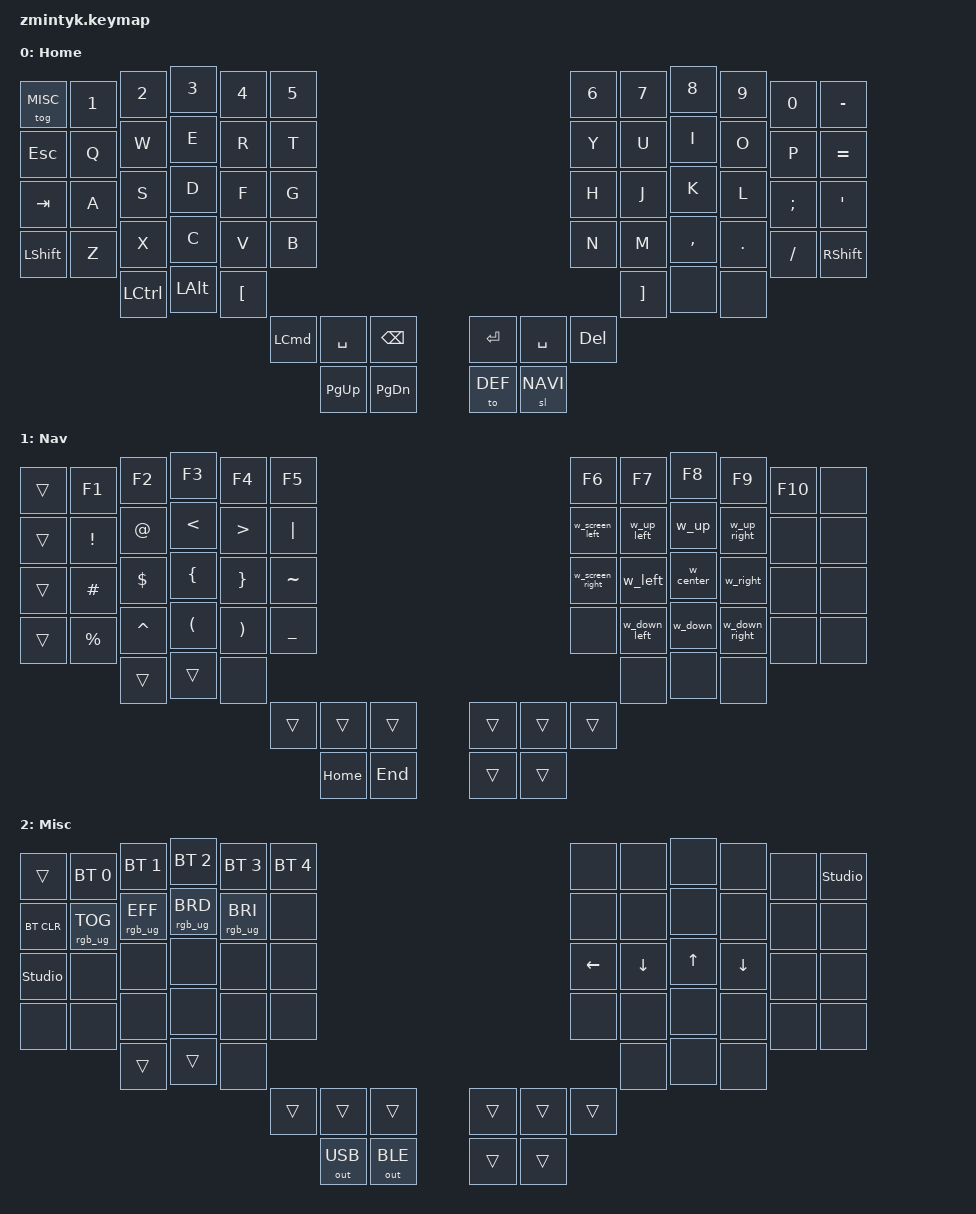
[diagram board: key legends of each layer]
#include <behaviors.dtsi>
#include <dt-bindings/zmk/keys.h>
#include <dt-bindings/zmk/bt.h>
#include <dt-bindings/zmk/outputs.h>
#include <dt-bindings/zmk/rgb.h>

#define DEF 0
#define NAVI 1
#define MISC 2

&led_strip {
  chain-length = <1>;
};

/ {
  keymap {
    compatible = "zmk,keymap";

    default_layer {
      display-name = "Home";
      bindings = <
        &tog MISC  &kp N1    &kp N2    &kp N3    &kp N4    &kp N5        &kp N6    &kp N7     &kp N8    &kp N9    &kp N0    &kp MINUS
        &kp ESC   &kp Q     &kp W     &kp E     &kp R     &kp T         &kp Y     &kp U      &kp I     &kp O     &kp P     &kp EQUAL
        &kp TAB   &kp A     &kp S     &kp D     &kp F     &kp G         &kp H     &kp J      &kp K     &kp L     &kp SEMI  &kp SQT
        &kp LSHFT &kp Z     &kp X     &kp C     &kp V     &kp B         &kp N     &kp M      &kp COMMA &kp DOT   &kp FSLH  &kp RSHFT
                            &kp LCTRL &kp LALT  &kp LBKT                          &kp RBKT   &none     &none 
                                      &kp LCMD  &kp SPACE &kp BSPC      &kp ENTER &kp SPACE  &kp DEL
                                                &kp PG_UP &kp PG_DN     &to DEF   &sl NAVI
      >;
    };
    nav_layer {
      display-name = "Nav";
      bindings = <
        &trans    &kp F1    &kp F2    &kp F3    &kp F4    &kp F5    &kp F6          &kp F7       &kp F8    &kp F9        &kp F10 &none
        &trans    &kp EXCL  &kp AT    &kp LT    &kp GT    &kp PIPE  &w_screen_left  &w_up_left   &w_up     &w_up_right   &none   &none 
        &trans    &kp HASH  &kp DLLR  &kp LBRC  &kp RBRC  &kp TILDE &w_screen_right &w_left      &w_center &w_right      &none   &none 
        &trans    &kp PRCNT &kp CARET &kp LPAR  &kp RPAR  &kp UNDER &none           &w_down_left &w_down   &w_down_right &none   &none 
                            &trans    &trans    &none                               &none        &none     &none
                                      &trans    &trans    &trans        &trans      &trans       &trans
                                                &kp HOME  &kp END       &trans      &trans
      >;
    };
    misc_layer {
      display-name = "Misc";
      bindings = <
        &trans         &bt BT_SEL 0    &bt BT_SEL 1 &bt BT_SEL 2 &bt BT_SEL 3  &bt BT_SEL 4  &none    &none    &none    &none    &none    &studio_unlock
        &bt BT_CLR     &rgb_ug RGB_TOG &rgb_ug RGB_EFF        &rgb_ug RGB_BRD        &rgb_ug RGB_BRI         &none         &none    &none    &none    &none    &none    &none
        &studio_unlock &none        &none        &none        &none         &none         &kp LEFT &kp DOWN &kp UP   &kp DOWN &none    &none
        &none          &none        &none        &none        &none         &none         &none    &none    &none    &none    &none    &none
                                    &trans       &trans       &none                                &none    &none    &none
                                    &trans       &trans       &trans                               &trans   &trans   &trans
                                                 &out OUT_USB &out OUT_BLE                         &trans   &trans
      >;
    };
  };
        
  macros {
    find: find {
      compatible = "zmk,behavior-macro";
      #binding-cells = <0>;
      bindings
        = <&macro_press &kp LGUI>
        , <&macro_tap &kp F>
        , <&macro_release &kp LGUI>
        ;
      };
    copy: copy {
      compatible = "zmk,behavior-macro";
      #binding-cells = <0>;
      bindings
        = <&macro_press &kp LGUI>
        , <&macro_tap &kp C>
        , <&macro_release &kp LGUI>
        ;
      };
    paste: paste {
      compatible = "zmk,behavior-macro";
      #binding-cells = <0>;
      bindings
        = <&macro_press &kp LGUI>
        , <&macro_tap &kp V>
        , <&macro_release &kp LGUI>
        ;
      };
    cut: cut {
      compatible = "zmk,behavior-macro";
      #binding-cells = <0>;
      bindings
        = <&macro_press &kp LGUI>
        , <&macro_tap &kp X>
        , <&macro_release &kp LGUI>
        ;
      };
    w_left: w_left {
      compatible = "zmk,behavior-macro";
      #binding-cells = <0>;
      bindings
        = <&macro_press &kp LCTRL &kp LALT>
        , <&macro_tap &kp LEFT>
        , <&macro_release &kp LCTRL &kp LALT>
        ;
      };
    w_right: w_right {
      compatible = "zmk,behavior-macro";
      #binding-cells = <0>;
      bindings
        = <&macro_press &kp LCTRL &kp LALT>
        , <&macro_tap &kp RIGHT>
        , <&macro_release &kp LCTRL &kp LALT>
        ;
      };
    w_up: w_up {
      compatible = "zmk,behavior-macro";
      #binding-cells = <0>;
      bindings
        = <&macro_press &kp LCTRL &kp LALT>
        , <&macro_tap &kp UP>
        , <&macro_release &kp LCTRL &kp LALT>
        ;
      };
    w_down: w_down {
      compatible = "zmk,behavior-macro";
      #binding-cells = <0>;
      bindings
        = <&macro_press &kp LCTRL &kp LALT>
        , <&macro_tap &kp DOWN>
        , <&macro_release &kp LCTRL &kp LALT>
        ;
      };
    w_center: w_center {
      compatible = "zmk,behavior-macro";
      #binding-cells = <0>;
      bindings
        = <&macro_press &kp LCTRL &kp LALT>
        , <&macro_tap &kp RET>
        , <&macro_release &kp LCTRL &kp LALT>
        ;
      };
    w_up_left: w_up_left {
      compatible = "zmk,behavior-macro";
      #binding-cells = <0>;
      bindings
        = <&macro_press &kp LCTRL &kp LALT>
        , <&macro_tap &kp U>
        , <&macro_release &kp LCTRL &kp LALT>
        ;
      };
    w_up_right: w_up_right {
      compatible = "zmk,behavior-macro";
      #binding-cells = <0>;
      bindings
        = <&macro_press &kp LCTRL &kp LALT>
        , <&macro_tap &kp I>
        , <&macro_release &kp LCTRL &kp LALT>
        ;
      };
    w_down_left: w_down_left {
      compatible = "zmk,behavior-macro";
      #binding-cells = <0>;
      bindings
        = <&macro_press &kp LCTRL &kp LALT>
        , <&macro_tap &kp J>
        , <&macro_release &kp LCTRL &kp LALT>
        ;
      };
    w_down_right: w_down_right {
      compatible = "zmk,behavior-macro";
      #binding-cells = <0>;
      bindings
        = <&macro_press &kp LCTRL &kp LALT>
        , <&macro_tap &kp K>
        , <&macro_release &kp LCTRL &kp LALT>
        ;
      };
    w_screen_right: w_screen_right {
      compatible = "zmk,behavior-macro";
      #binding-cells = <0>;
      bindings
        = <&macro_press &kp LCTRL &kp LALT &kp LGUI>
        , <&macro_tap &kp RIGHT>
        , <&macro_release &kp LCTRL &kp LALT &kp LGUI>
        ;
      };
    w_screen_left: w_screen_left {
      compatible = "zmk,behavior-macro";
      #binding-cells = <0>;
      bindings
        = <&macro_press &kp LCTRL &kp LALT &kp LGUI>
        , <&macro_tap &kp LEFT>
        , <&macro_release &kp LCTRL &kp LALT &kp LGUI>
        ;
      };
    };
  };
